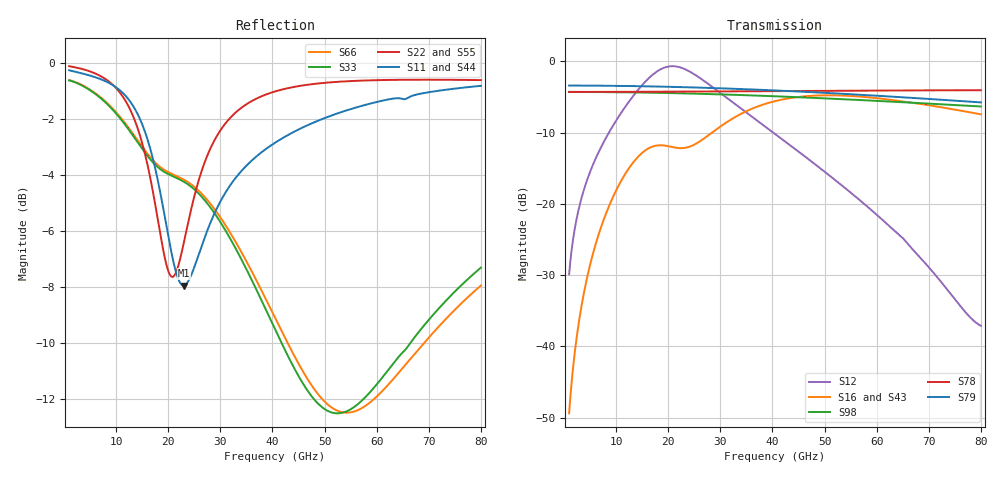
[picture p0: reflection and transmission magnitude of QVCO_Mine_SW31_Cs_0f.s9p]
! Touchstone Ver. 1.0
! Number of ports is 9
# Hz	S	RI	R	50.000000
! SCATTERING PARAMETERS  :
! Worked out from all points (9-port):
!   1001 points, 1 GHz to 80 GHz, reference 50 ohm
!   strongest paths, dB at 1 GHz, 20.75 GHz, 40.5 GHz, 60.25 GHz, 80 GHz:
!     S79: -3.4, -3.6, -4.1, -4.8, -5.8
!     S78: -4.3, -4.2, -4.2, -4.1, -4.0
!     S98: -4.3, -4.4, -4.9, -5.5, -6.3
!     S16: -49.4, -12.0, -5.6, -5.2, -7.4
!     S43: -47.8, -12.0, -5.5, -5.3, -7.6
!     S12: -29.9, -0.7, -10.2, -21.7, -37.1
!   lowest |S11| = -7.9 dB at 22.96 GHz (marker M1), VSWR 2.34, Z = 41.2 + j38.6 ohm
!   |S11| at or under -10 dB: nowhere
